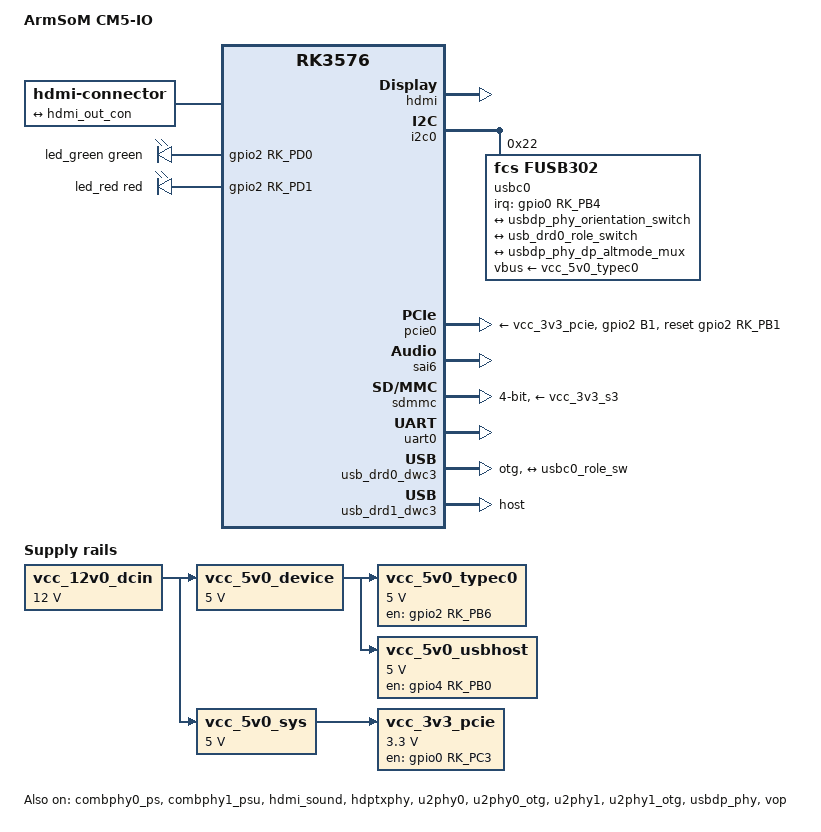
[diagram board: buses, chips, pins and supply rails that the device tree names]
// SPDX-License-Identifier: (GPL-2.0+ OR MIT)
/*
 * ArmSoM CM5-IO - official carrier board for the ArmSoM CM5 (RK3576) module.
 *
 * Carrier provides:
 *   - Full-size HDMI 2.1 (HDMI TX via HDPTX PHY)
 *   - Gigabit Ethernet RJ45 (GMAC0 + on-module YT8531)
 *   - 2x USB-A behind a USB3 hub (combphy1 + u2phy1)
 *   - USB-C with PD/altmode (FUSB302 on i2c0, combphy0 + USBDP PHY)
 *   - M.2 PCIe 2.0 x1 slot (combphy0 as PCIe lane)
 *   - microSD card slot
 *   - Green/red status LEDs, 40-pin RPi-compatible header
 *   - 12 V DC barrel jack
 *
 * Copyright (c) 2024 ArmSoM
 * Copyright (c) 2026 Jiaxing Hu <gahing@gahingwoo.com>
 */

/dts-v1/;

#include <dt-bindings/gpio/gpio.h>
#include <dt-bindings/leds/common.h>
#include <dt-bindings/pinctrl/rockchip.h>
#include <dt-bindings/soc/rockchip,vop2.h>
#include <dt-bindings/usb/pd.h>
#include "rk3576-armsom-cm5.dtsi"

/ {
	model = "ArmSoM CM5-IO";
	compatible = "armsom,cm5-io", "armsom,cm5", "rockchip,rk3576";

	aliases {
		ethernet0 = &gmac0;
		mmc0 = &sdhci;
		mmc1 = &sdmmc;
	};

	chosen {
		stdout-path = "serial0:1500000n8";
	};

	hdmi-con {
		compatible = "hdmi-connector";
		type = "a";

		port {
			hdmi_con_in: endpoint {
				remote-endpoint = <&hdmi_out_con>;
			};
		};
	};

	leds: leds {
		compatible = "gpio-leds";

		led_green: led-0 {
			color = <LED_COLOR_ID_GREEN>;
			default-state = "on";
			function = LED_FUNCTION_STATUS;
			gpios = <&gpio2 RK_PD0 GPIO_ACTIVE_HIGH>;
			pinctrl-names = "default";
			pinctrl-0 = <&led_green_en>;
		};

		led_red: led-1 {
			color = <LED_COLOR_ID_RED>;
			default-state = "off";
			function = LED_FUNCTION_FAULT;
			gpios = <&gpio2 RK_PD1 GPIO_ACTIVE_HIGH>;
			pinctrl-names = "default";
			pinctrl-0 = <&led_red_en>;
		};
	};

	vcc_12v0_dcin: regulator-vcc-12v0-dcin {
		compatible = "regulator-fixed";
		regulator-name = "vcc_12v0_dcin";
		regulator-always-on;
		regulator-boot-on;
		regulator-min-microvolt = <12000000>;
		regulator-max-microvolt = <12000000>;
	};

	/* PCIe 3.3 V for the M.2 slot */
	vcc_3v3_pcie: regulator-vcc-3v3-pcie {
		compatible = "regulator-fixed";
		pinctrl-names = "default";
		pinctrl-0 = <&pcie_pwr_en>;
		regulator-name = "vcc_3v3_pcie";
		regulator-min-microvolt = <3300000>;
		regulator-max-microvolt = <3300000>;
		enable-active-high;
		gpios = <&gpio0 RK_PC3 GPIO_ACTIVE_HIGH>;
		startup-delay-us = <5000>;
		vin-supply = <&vcc_5v0_sys>;
	};

	vcc_5v0_device: regulator-vcc-5v0-device {
		compatible = "regulator-fixed";
		regulator-name = "vcc_5v0_device";
		regulator-always-on;
		regulator-boot-on;
		regulator-min-microvolt = <5000000>;
		regulator-max-microvolt = <5000000>;
		vin-supply = <&vcc_12v0_dcin>;
	};

	vcc_5v0_sys: regulator-vcc-5v0-sys {
		compatible = "regulator-fixed";
		regulator-name = "vcc_5v0_sys";
		regulator-always-on;
		regulator-boot-on;
		regulator-min-microvolt = <5000000>;
		regulator-max-microvolt = <5000000>;
		vin-supply = <&vcc_12v0_dcin>;
	};

	vcc_5v0_typec0: regulator-vcc-5v0-typec0 {
		compatible = "regulator-fixed";
		enable-active-high;
		gpios = <&gpio2 RK_PB6 GPIO_ACTIVE_HIGH>;
		pinctrl-names = "default";
		pinctrl-0 = <&usb_otg0_pwren>;
		regulator-name = "vcc_5v0_typec0";
		regulator-min-microvolt = <5000000>;
		regulator-max-microvolt = <5000000>;
		vin-supply = <&vcc_5v0_device>;
	};

	/* USB-A host 5 V (through the hub) */
	vcc_5v0_usbhost: regulator-vcc-5v0-usbhost {
		compatible = "regulator-fixed";
		enable-active-high;
		gpios = <&gpio4 RK_PB0 GPIO_ACTIVE_HIGH>;
		pinctrl-names = "default";
		pinctrl-0 = <&usb_host_pwren>;
		regulator-name = "vcc_5v0_usbhost";
		regulator-min-microvolt = <5000000>;
		regulator-max-microvolt = <5000000>;
		vin-supply = <&vcc_5v0_device>;
	};
};

/* ComboPHY0 -> PCIe lane (M.2 slot); ComboPHY1 -> USB3 lane (USB-A hub). */
&combphy0_ps {
	status = "okay";
};

&combphy1_psu {
	status = "okay";
};

&hdmi {
	status = "okay";
};

&hdmi_in {
	hdmi_in_vp0: endpoint {
		remote-endpoint = <&vp0_out_hdmi>;
	};
};

&hdmi_out {
	hdmi_out_con: endpoint {
		remote-endpoint = <&hdmi_con_in>;
	};
};

&hdmi_sound {
	status = "okay";
};

&hdptxphy {
	status = "okay";
};

&i2c0 {
	pinctrl-names = "default";
	pinctrl-0 = <&i2c0m1_xfer>;
	status = "okay";

	usbc0: usb-typec@22 {
		compatible = "fcs,fusb302";
		reg = <0x22>;
		interrupt-parent = <&gpio0>;
		interrupts = <RK_PB4 IRQ_TYPE_LEVEL_LOW>;
		pinctrl-names = "default";
		pinctrl-0 = <&usbc0_int>;
		vbus-supply = <&vcc_5v0_typec0>;

		usb_con: connector {
			compatible = "usb-c-connector";
			data-role = "dual";
			label = "USB-C";
			op-sink-microwatt = <1000000>;
			power-role = "dual";
			try-power-role = "sink";
			sink-pdos =
				<PDO_FIXED(5000, 3000, PDO_FIXED_USB_COMM)
				 PDO_FIXED(9000, 3000, PDO_FIXED_USB_COMM)
				 PDO_FIXED(12000, 3000, PDO_FIXED_USB_COMM)>;
			source-pdos =
				<PDO_FIXED(5000, 3000, PDO_FIXED_USB_COMM)>;

			altmodes {
				displayport {
					svid = /bits/ 16 <0xff01>;
					vdo = <0xffffffff>;
				};
			};

			ports {
				#address-cells = <1>;
				#size-cells = <0>;

				port@0 {
					reg = <0>;
					usbc0_orien_sw: endpoint {
						remote-endpoint = <&usbdp_phy_orientation_switch>;
					};
				};

				port@1 {
					reg = <1>;
					usbc0_role_sw: endpoint {
						remote-endpoint = <&usb_drd0_role_switch>;
					};
				};

				port@2 {
					reg = <2>;
					dp_altmode_mux: endpoint {
						remote-endpoint = <&usbdp_phy_dp_altmode_mux>;
					};
				};
			};
		};
	};
};

/* PCIe 2.0 x1 M.2 slot + */
&pcie0 {
	pinctrl-names = "default";
	pinctrl-0 = <&pcie_reset>;
	reset-gpios = <&gpio2 RK_PB1 GPIO_ACTIVE_HIGH>;
	vpcie3v3-supply = <&vcc_3v3_pcie>;
	status = "okay";
};

&pinctrl {
	leds {
		led_green_en: led-green-en {
			rockchip,pins = <2 RK_PD0 RK_FUNC_GPIO &pcfg_pull_none>;
		};

		led_red_en: led-red-en {
			rockchip,pins = <2 RK_PD1 RK_FUNC_GPIO &pcfg_pull_none>;
		};
	};

	pcie {
		pcie_pwr_en: pcie-pwr-en {
			rockchip,pins = <0 RK_PC3 RK_FUNC_GPIO &pcfg_pull_down>;
		};

		pcie_reset: pcie-reset {
			rockchip,pins = <2 RK_PB1 RK_FUNC_GPIO &pcfg_pull_up>;
		};
	};

	usb {
		usb_host_pwren: usb-host-pwren {
			rockchip,pins = <4 RK_PB0 RK_FUNC_GPIO &pcfg_pull_none>;
		};

		usb_otg0_pwren: usb-otg0-pwren {
			rockchip,pins = <2 RK_PB6 RK_FUNC_GPIO &pcfg_pull_none>;
		};

		usbc0_int: usbc0-int {
			rockchip,pins = <0 RK_PB4 RK_FUNC_GPIO &pcfg_pull_up>;
		};
	};
};

/* SAI6 is the I2S CPU DAI feeding the HDMI audio path. */
&sai6 {
	status = "okay";
};

&sdmmc {
	bus-width = <4>;
	cap-mmc-highspeed;
	cap-sd-highspeed;
	disable-wp;
	max-frequency = <200000000>;
	no-sdio;
	no-mmc;
	sd-uhs-sdr104;
	vmmc-supply = <&vcc_3v3_s3>;
	vqmmc-supply = <&vccio_sd_s0>;
	status = "okay";
};

&u2phy0 {
	status = "okay";
};

&u2phy0_otg {
	phy-supply = <&vcc_5v0_typec0>;
	status = "okay";
};

&u2phy1 {
	status = "okay";
};

&u2phy1_otg {
	phy-supply = <&vcc_5v0_usbhost>;
	status = "okay";
};

/* Debug UART0 on the 40-pin header. */
&uart0 {
	pinctrl-0 = <&uart0m0_xfer>;
	status = "okay";
};

/* USB DRD0: USB-C (USBDP SuperSpeed + USB2 HS), OTG with FUSB302 */
&usb_drd0_dwc3 {
	dr_mode = "otg";
	usb-role-switch;
	status = "okay";

	port {
		usb_drd0_role_switch: endpoint {
			remote-endpoint = <&usbc0_role_sw>;
		};
	};
};

/* USB DRD1: USB-A ports behind the hub */
&usb_drd1_dwc3 {
	dr_mode = "host";
	status = "okay";
};

&usbdp_phy {
	status = "okay";
	mode-switch;
	orientation-switch;
	sbu1-dc-gpios = <&gpio4 RK_PC4 GPIO_ACTIVE_HIGH>;
	sbu2-dc-gpios = <&gpio4 RK_PC5 GPIO_ACTIVE_HIGH>;

	port {
		#address-cells = <1>;
		#size-cells = <0>;

		usbdp_phy_orientation_switch: endpoint@0 {
			reg = <0>;
			remote-endpoint = <&usbc0_orien_sw>;
		};

		usbdp_phy_dp_altmode_mux: endpoint@1 {
			reg = <1>;
			remote-endpoint = <&dp_altmode_mux>;
		};
	};
};

&vop {
	status = "okay";
};

&vop_mmu {
	status = "okay";
};

&vp0 {
	vp0_out_hdmi: endpoint@ROCKCHIP_VOP2_EP_HDMI0 {
		reg = <ROCKCHIP_VOP2_EP_HDMI0>;
		remote-endpoint = <&hdmi_in_vp0>;
	};
};
